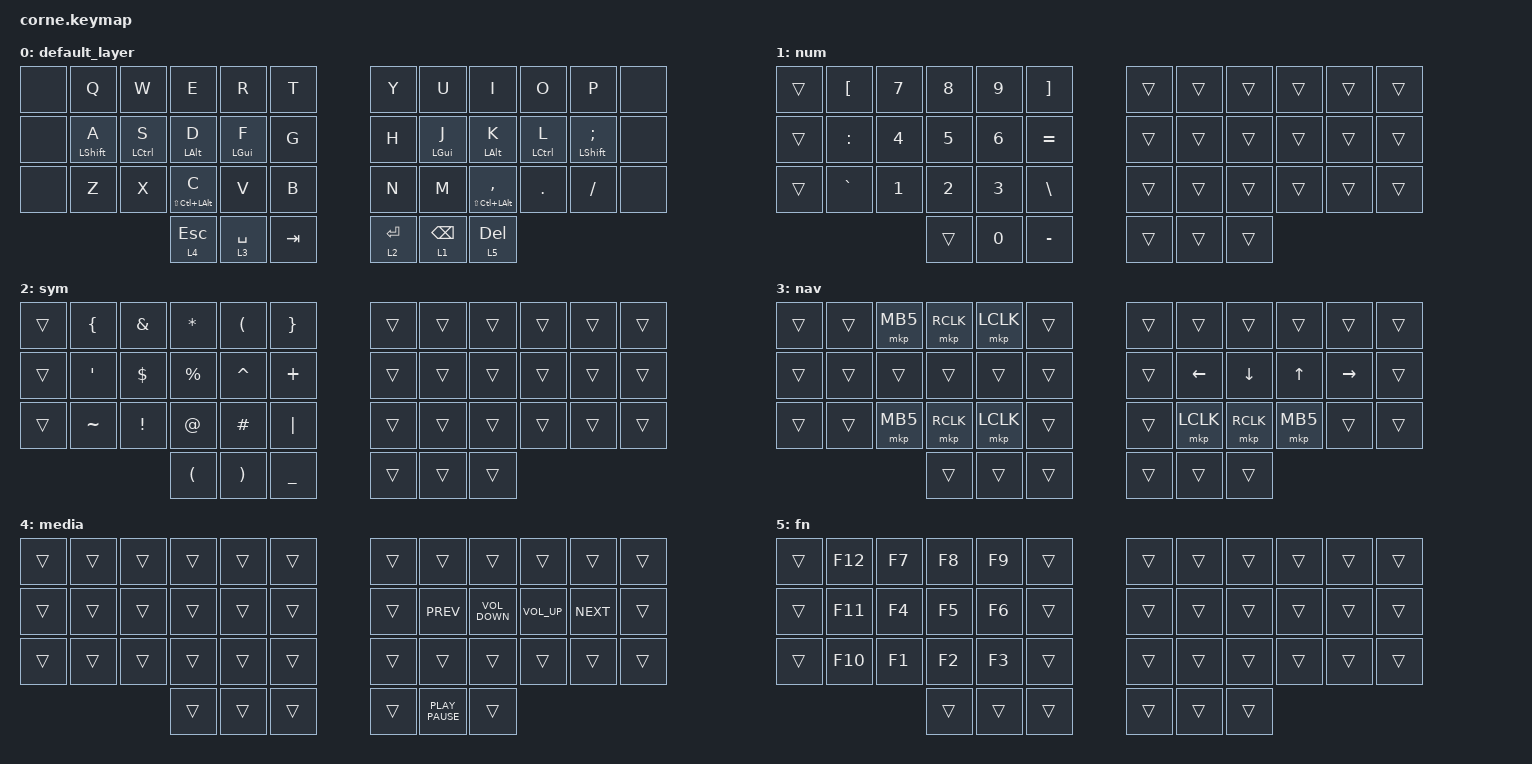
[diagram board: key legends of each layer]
/*
 * Copyright (c) 2020 The ZMK Contributors
 *
 * SPDX-License-Identifier: MIT
 */

#include <behaviors.dtsi>
#include <dt-bindings/zmk/bt.h>
#include <dt-bindings/zmk/keys.h>
#include <dt-bindings/zmk/mouse.h>

/ {
    combos {
        compatible = "zmk,combos";

        esc {
            bindings = <&kp ESCAPE>;
            key-positions = <1 2>;
        };

        quote {
            bindings = <&kp APOSTROPHE>;
            key-positions = <33 34>;
        };

        capsword {
            bindings = <&caps_word>;
            key-positions = <13 22>;
        };

        bt0 {
            bindings = <&bt BT_SEL 0>;
            key-positions = <10 9 26>;
        };

        bt1 {
            bindings = <&bt BT_SEL 1>;
            key-positions = <10 9 27>;
        };

        Cut {
            bindings = <&kp K_CUT>;
            key-positions = <25 26>;
        };

        Copy {
            bindings = <&kp K_COPY>;
            key-positions = <25 27>;
        };

        Paste {
            bindings = <&kp K_PASTE>;
            key-positions = <25 28>;
        };

        btnext {
            bindings = <&bt BT_NXT>;
            key-positions = <8 10>;
        };

        bt2 {
            bindings = <&bt BT_SEL 2>;
            key-positions = <10 9 28>;
        };

        btclear {
            bindings = <&bt BT_CLR>;
            key-positions = <10 8 1 3>;
        };
    };

    behaviors {
        hmr: hmr {
            compatible = "zmk,behavior-hold-tap";
            label = "HMR";
            bindings = <&kp>, <&kp>;

            #binding-cells = <2>;
            tapping-term-ms = <200>;
            quick-tap-ms = <175>;
            flavor = "balanced";
            hold-trigger-key-positions = <0 0 1 2 3 4 5 12 13 14 15 16 17 24 25 26 27 28 29 36 37 38 39 41 40>;
            hold-trigger-on-release;
        };

        hml: hml {
            compatible = "zmk,behavior-hold-tap";
            label = "HML";
            bindings = <&kp>, <&kp>;

            #binding-cells = <2>;
            hold-trigger-key-positions = <6 7 8 9 10 11 18 19 20 21 22 23 30 31 32 33 34 35 39 40 41 38 37 36 4 3 2 28 27 26>;
            tapping-term-ms = <200>;
            quick-tap-ms = <175>;
            flavor = "balanced";
            hold-trigger-on-release;
        };
    };

    keymap {
        compatible = "zmk,keymap";

        default_layer {
            // -----------------------------------------------------------------------------------------
            // |  TAB |  Q  |  W  |  E  |  R  |  T  |   |  Y  |  U   |  I  |  O  |  P  | BKSP |
            // | CTRL |  A  |  S  |  D  |  F  |  G  |   |  H  |  J   |  K  |  L  |  ;  |  '   |
            // | SHFT |  Z  |  X  |  C  |  V  |  B  |   |  N  |  M   |  ,  |  .  |  /  | ESC  |
            //                    | GUI | LWR | SPC |   | ENT | RSE  | ALT |

            bindings = <
&none  &kp Q          &kp W         &kp E                &kp R        &kp T      &kp Y        &kp U            &kp I                    &kp O         &kp P                  &none
&none  &hml LSHIFT A  &hml LCTRL S  &hml LALT D          &hml LGUI F  &kp G      &kp H        &hmr LGUI J      &hmr LALT K              &hmr LCTRL L  &hmr LSHIFT SEMICOLON  &none
&none  &kp Z          &kp X         &hml LS(LC(LALT)) C  &kp V        &kp B      &kp N        &kp M            &hmr LS(LC(LALT)) COMMA  &kp DOT       &kp FSLH               &none
                                    &lt 4 ESC            &lt 3 SPACE  &kp TAB    &lt 2 ENTER  &lt 1 BACKSPACE  &lt 5 DEL
            >;
        };

        num {
            bindings = <
&trans  &kp LEFT_BRACKET  &kp NUMBER_7  &kp NUMBER_8  &kp NUMBER_9  &kp RIGHT_BRACKET    &trans  &trans  &trans  &trans  &trans  &trans
&trans  &kp COLON         &kp NUMBER_4  &kp NUMBER_5  &kp NUMBER_6  &kp EQUAL            &trans  &trans  &trans  &trans  &trans  &trans
&trans  &kp GRAVE         &kp NUMBER_1  &kp NUMBER_2  &kp NUMBER_3  &kp BACKSLASH        &trans  &trans  &trans  &trans  &trans  &trans
                                        &trans        &kp NUMBER_0  &kp MINUS            &trans  &trans  &trans
            >;
        };

        sym {
            bindings = <
&trans  &kp LEFT_BRACE    &kp AMPERSAND    &kp ASTERISK          &kp LEFT_PARENTHESIS   &kp RIGHT_BRACE    &trans  &trans  &trans  &trans  &trans  &trans
&trans  &kp SINGLE_QUOTE  &kp DOLLAR       &kp PERCENT           &kp CARET              &kp PLUS           &trans  &trans  &trans  &trans  &trans  &trans
&trans  &kp TILDE         &kp EXCLAMATION  &kp AT_SIGN           &kp HASH               &kp PIPE           &trans  &trans  &trans  &trans  &trans  &trans
                                           &kp LEFT_PARENTHESIS  &kp RIGHT_PARENTHESIS  &kp UNDERSCORE     &trans  &trans  &trans
            >;
        };

        nav {
            bindings = <
&trans  &trans  &mkp MB5  &mkp RCLK  &mkp LCLK  &trans    &trans  &trans     &trans     &trans    &trans     &trans
&trans  &trans  &trans    &trans     &trans     &trans    &trans  &kp LEFT   &kp DOWN   &kp UP    &kp RIGHT  &trans
&trans  &trans  &mkp MB5  &mkp RCLK  &mkp LCLK  &trans    &trans  &mkp LCLK  &mkp RCLK  &mkp MB5  &trans     &trans
                          &trans     &trans     &trans    &trans  &trans     &trans
            >;
        };

        media {
            bindings = <
&trans  &trans  &trans  &trans  &trans  &trans    &trans  &trans            &trans             &trans           &trans      &trans
&trans  &trans  &trans  &trans  &trans  &trans    &trans  &kp K_PREV        &kp C_VOLUME_DOWN  &kp C_VOLUME_UP  &kp K_NEXT  &trans
&trans  &trans  &trans  &trans  &trans  &trans    &trans  &trans            &trans             &trans           &trans      &trans
                        &trans  &trans  &trans    &trans  &kp K_PLAY_PAUSE  &trans
            >;
        };

        fn {
            bindings = <
&trans  &kp F12  &kp F7  &kp F8  &kp F9  &trans    &trans  &trans  &trans  &trans  &trans  &trans
&trans  &kp F11  &kp F4  &kp F5  &kp F6  &trans    &trans  &trans  &trans  &trans  &trans  &trans
&trans  &kp F10  &kp F1  &kp F2  &kp F3  &trans    &trans  &trans  &trans  &trans  &trans  &trans
                         &trans  &trans  &trans    &trans  &trans  &trans
            >;
        };
    };
};
